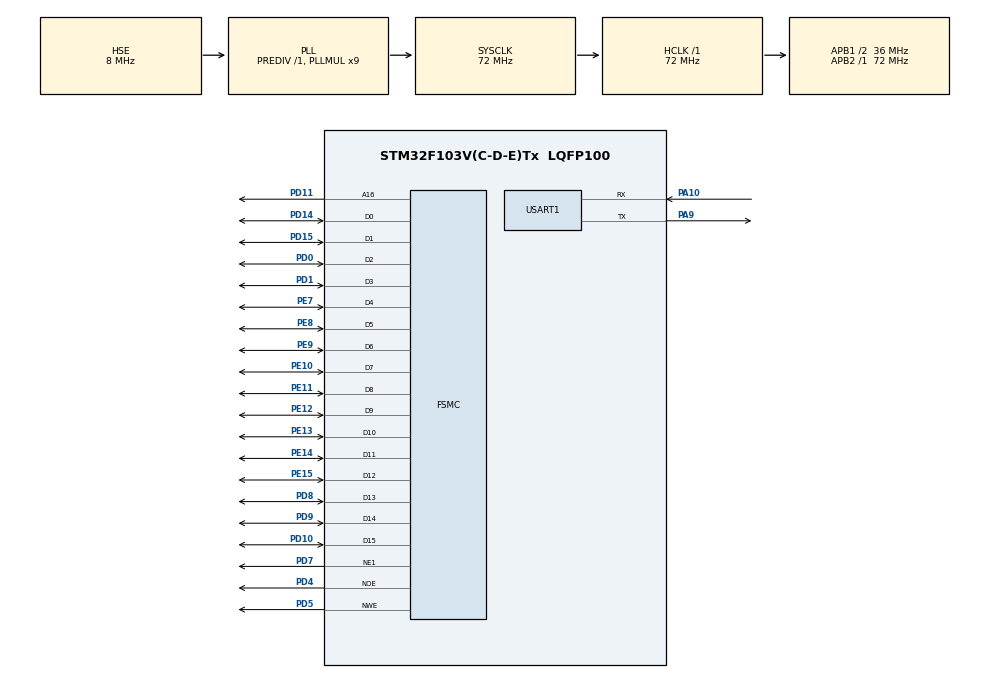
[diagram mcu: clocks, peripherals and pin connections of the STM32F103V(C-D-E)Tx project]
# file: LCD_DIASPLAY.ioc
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Mcu.Family=STM32F1
Mcu.Name=STM32F103V(C-D-E)Tx
Mcu.Package=LQFP100
NVIC.PriorityGroup=NVIC_PRIORITYGROUP_4
OSC_IN.Mode=HSE-External-Oscillator
OSC_IN.Signal=RCC_OSC_IN
OSC_OUT.Mode=HSE-External-Oscillator
OSC_OUT.Signal=RCC_OSC_OUT
PA10.Mode=Asynchronous
PA10.Signal=USART1_RX
PA13.Mode=Serial_Wire
PA13.Signal=SYS_JTMS-SWDIO
PA14.Mode=Serial_Wire
PA14.Signal=SYS_JTCK-SWCLK
PA9.Mode=Asynchronous
PA9.Signal=USART1_TX
PC14-OSC32_IN.Mode=LSE-External-Oscillator
PC14-OSC32_IN.Signal=RCC_OSC32_IN
PC15-OSC32_OUT.Mode=LSE-External-Oscillator
PC15-OSC32_OUT.Signal=RCC_OSC32_OUT
PD0.Mode=16b-d1
PD0.Signal=FSMC_D2
PD1.Mode=16b-d1
PD1.Signal=FSMC_D3
PD10.Mode=16b-d1
PD10.Signal=FSMC_D15
PD11.Mode=A16_1
PD11.Signal=FSMC_A16
PD14.Mode=16b-d1
PD14.Signal=FSMC_D0
PD15.Mode=16b-d1
PD15.Signal=FSMC_D1
PD4.Mode=Lcd1
PD4.Signal=FSMC_NOE
PD5.Mode=Lcd1
PD5.Signal=FSMC_NWE
PD7.Mode=NorPsramChipSelect1_1
PD7.Signal=FSMC_NE1
PD8.Mode=16b-d1
PD8.Signal=FSMC_D13
PD9.Mode=16b-d1
PD9.Signal=FSMC_D14
PE10.Mode=16b-d1
PE10.Signal=FSMC_D7
PE11.Mode=16b-d1
PE11.Signal=FSMC_D8
PE12.Mode=16b-d1
PE12.Signal=FSMC_D9
PE13.Mode=16b-d1
PE13.Signal=FSMC_D10
PE14.Mode=16b-d1
PE14.Signal=FSMC_D11
PE15.Mode=16b-d1
PE15.Signal=FSMC_D12
PE7.Mode=16b-d1
PE7.Signal=FSMC_D4
PE8.Mode=16b-d1
PE8.Signal=FSMC_D5
PE9.Mode=16b-d1
PE9.Signal=FSMC_D6
ProjectManager.HeapSize=0x200
ProjectManager.StackSize=0x400
ProjectManager.TargetToolchain=MDK-ARM V5.27
RCC.AHBFreq_Value=72000000
RCC.APB1CLKDivider=RCC_HCLK_DIV2
RCC.APB1Freq_Value=36000000
RCC.APB1TimFreq_Value=72000000
RCC.APB2Freq_Value=72000000
RCC.APB2TimFreq_Value=72000000
RCC.HCLKFreq_Value=72000000
RCC.PLLMUL=RCC_PLL_MUL9
RCC.PLLSourceVirtual=RCC_PLLSOURCE_HSE
RCC.SYSCLKFreq_VALUE=72000000
RCC.SYSCLKSource=RCC_SYSCLKSOURCE_PLLCLK
RCC.USBFreq_Value=72000000
USART1.VirtualMode=VM_ASYNC
board=custom

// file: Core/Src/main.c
/* USER CODE BEGIN Header */
/**
  ******************************************************************************
  * @file           : main.c
  * @brief          : Main program body
  ******************************************************************************
  * @attention
  *
  * <h2><center>&copy; Copyright (c) 2021 STMicroelectronics.
  * All rights reserved.</center></h2>
  *
  * This software component is licensed by ST under BSD 3-Clause license,
  * the "License"; You may not use this file except in compliance with the
  * License. You may obtain a copy of the License at:
  *                        opensource.org/licenses/BSD-3-Clause
  *
  ******************************************************************************
  */
/* USER CODE END Header */
#include "main.h"
#include "usart.h"
#include "gpio.h"
#include "bsp_ili9341_lcd.h"

void SystemClock_Config(void);

/* USER CODE BEGIN 0 */

static void LCD_Test(void);
static void Delay ( __IO uint32_t nCount );
void Printf_Charater(void)   ;

/*用于测试各种液晶的函数*/
void LCD_Test(void)
{
	/*演示显示变量*/
	static uint8_t testCNT = 0;
	char dispBuff[100];

	testCNT++;

	LCD_SetFont(&Font8x16);
	LCD_SetColors(RED,BLACK);

  ILI9341_Clear(0,0,LCD_X_LENGTH,LCD_Y_LENGTH);	/* 清屏，显示全黑 */
	/********显示字符串示例*******/
  ILI9341_DispStringLine_EN(LINE(0),"BH 3.2 inch LCD para:");
  ILI9341_DispStringLine_EN(LINE(1),"Image resolution:240x320 px");
  ILI9341_DispStringLine_EN(LINE(2),"ILI9341 LCD driver");
  ILI9341_DispStringLine_EN(LINE(3),"XPT2046 Touch Pad driver");

	/********显示变量示例*******/
	LCD_SetFont(&Font16x24);
	LCD_SetTextColor(GREEN);

	/*使用c标准库把变量转化成字符串*/
	sprintf(dispBuff,"Count : %d ",testCNT);
  LCD_ClearLine(LINE(4));	/* 清除单行文字 */

	/*然后显示该字符串即可，其它变量也是这样处理*/
	ILI9341_DispStringLine_EN(LINE(4),dispBuff);

	/*******显示图形示例******/
	LCD_SetFont(&Font24x32);
  /* 画直线 */

  LCD_ClearLine(LINE(4));/* 清除单行文字 */
	LCD_SetTextColor(BLUE);

  ILI9341_DispStringLine_EN(LINE(4),"Draw line:");

	LCD_SetTextColor(RED);
  ILI9341_DrawLine(50,170,210,230);
  ILI9341_DrawLine(50,200,210,240);

	LCD_SetTextColor(GREEN);
  ILI9341_DrawLine(100,170,200,230);
  ILI9341_DrawLine(200,200,220,240);

	LCD_SetTextColor(BLUE);
  ILI9341_DrawLine(110,170,110,230);
  ILI9341_DrawLine(130,200,220,240);

  Delay(0xFFFFFF);

  ILI9341_Clear(0,16*8,LCD_X_LENGTH,LCD_Y_LENGTH-16*8);	/* 清屏，显示全黑 */

  /*画矩形*/

  LCD_ClearLine(LINE(4));	/* 清除单行文字 */
	LCD_SetTextColor(BLUE);

  ILI9341_DispStringLine_EN(LINE(4),"Draw Rect:");

	LCD_SetTextColor(RED);
  ILI9341_DrawRectangle(50,200,100,30,1);

	LCD_SetTextColor(GREEN);
  ILI9341_DrawRectangle(160,200,20,40,0);

	LCD_SetTextColor(BLUE);
  ILI9341_DrawRectangle(170,200,50,20,1);

  Delay(0xFFFFFF);

	ILI9341_Clear(0,16*8,LCD_X_LENGTH,LCD_Y_LENGTH-16*8);	/* 清屏，显示全黑 */

  /* 画圆 */
  LCD_ClearLine(LINE(4));	/* 清除单行文字 */
	LCD_SetTextColor(BLUE);

  ILI9341_DispStringLine_EN(LINE(4),"Draw Cir:");

	LCD_SetTextColor(RED);
  ILI9341_DrawCircle(100,200,20,0);

	LCD_SetTextColor(GREEN);
  ILI9341_DrawCircle(100,200,10,1);

	LCD_SetTextColor(BLUE);
	ILI9341_DrawCircle(140,200,20,0);

  Delay(0xFFFFFF);

  ILI9341_Clear(0,16*8,LCD_X_LENGTH,LCD_Y_LENGTH-16*8);	/* 清屏，显示全黑 */

}

/**
  * @brief  简单延时函数
  * @param  nCount ：延时计数值
  * @retval 无
  */
static void Delay ( __IO uint32_t nCount )
{
  for ( ; nCount != 0; nCount -- );

}

/* USER CODE END 0 */

int main(void)
{

    /* MCU Configuration--------------------------------------------------------*/

    /* Reset of all peripherals, Initializes the Flash interface and the Systick. */
    HAL_Init();

    /* Configure the system clock */
    SystemClock_Config();

    /* Initialize all configured peripherals */
    MX_GPIO_Init();
    MX_USART1_UART_Init();
    /* USER CODE BEGIN 2 */

    ILI9341_Init ();         //LCD 初始化

    printf("\r\n ********** 液晶屏英文显示程序*********** \r\n");
    printf("\r\n 本程序不支持中文，显示中文的程序请学习下一章 \r\n");

    //其中0、3、5、6 模式适合从左至右显示文字，
    //不推荐使用其它模式显示文字	其它模式显示文字会有镜像效果
    //其中 6 模式为大部分液晶例程的默认显示方向
    ILI9341_GramScan ( 6 );

    /* USER CODE END 2 */

    /* Infinite loop */
    while (1)
    {

        LCD_Test();

    }
}

void SystemClock_Config(void)
{
    RCC_OscInitTypeDef RCC_OscInitStruct = {0};
    RCC_ClkInitTypeDef RCC_ClkInitStruct = {0};

    /** Initializes the RCC Oscillators according to the specified parameters
    * in the RCC_OscInitTypeDef structure.
    */
    RCC_OscInitStruct.OscillatorType = RCC_OSCILLATORTYPE_HSE;
    RCC_OscInitStruct.HSEState = RCC_HSE_ON;
    RCC_OscInitStruct.HSEPredivValue = RCC_HSE_PREDIV_DIV1;
    RCC_OscInitStruct.HSIState = RCC_HSI_ON;
    RCC_OscInitStruct.PLL.PLLState = RCC_PLL_ON;
    RCC_OscInitStruct.PLL.PLLSource = RCC_PLLSOURCE_HSE;
    RCC_OscInitStruct.PLL.PLLMUL = RCC_PLL_MUL9;
    if (HAL_RCC_OscConfig(&RCC_OscInitStruct) != HAL_OK)
    {
        Error_Handler();
    }
    /** Initializes the CPU, AHB and APB buses clocks
    */
    RCC_ClkInitStruct.ClockType = RCC_CLOCKTYPE_HCLK|RCC_CLOCKTYPE_SYSCLK
                                  |RCC_CLOCKTYPE_PCLK1|RCC_CLOCKTYPE_PCLK2;
    RCC_ClkInitStruct.SYSCLKSource = RCC_SYSCLKSOURCE_PLLCLK;
    RCC_ClkInitStruct.AHBCLKDivider = RCC_SYSCLK_DIV1;
    RCC_ClkInitStruct.APB1CLKDivider = RCC_HCLK_DIV2;
    RCC_ClkInitStruct.APB2CLKDivider = RCC_HCLK_DIV1;

    if (HAL_RCC_ClockConfig(&RCC_ClkInitStruct, FLASH_LATENCY_2) != HAL_OK)
    {
        Error_Handler();
    }
}

void Error_Handler(void)
{
    __disable_irq();
    while (1)
    {
    }
}

/************************ (C) COPYRIGHT STMicroelectronics *****END OF FILE****/
